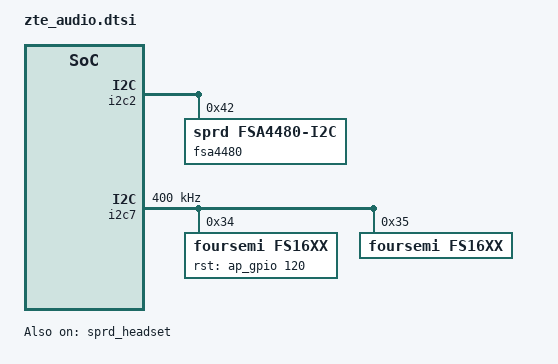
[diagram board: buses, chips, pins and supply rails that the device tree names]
&i2c2 {
	fsa4480: fsa4480@42 {
		status = "okay";
		compatible = "sprd,fsa4480-i2c";
		reg = <0x42>;
	};
};

&i2c7 {
	status = "okay";
	clock-frequency = <400000>;
	#address-cells = <1>;
	#size-cells = <0>;
	fs16xx@34 {
		compatible = "foursemi,fs16xx";
		reg = <0x34>;
		fsm,rst-gpio = <&ap_gpio 120 0>;
		status = "okay";
	};

	fs16xx@35 {
		compatible = "foursemi,fs16xx";
		reg = <0x35>;
		status = "okay";
	};
};

&sprd_headset {
	status = "okay";
	extcon = <&pmic_typec>;
	typec-i2c = <1>;
	sprd,3pole-adc-threshold = <112>;
	fsa4480-i2c-handle = <&fsa4480>;
};

&sound_vbc_v4_sprd_codec {

	status = "okay";
	extral-iic-pa = <2>;

	sprd-audio-card,routing =
		"HPMIC Pin", "HP Mic Jack",
		"MIC Pin", "Mic Jack",
		"MIC2 Pin", "Aux Mic Jack",
		"MIC3 Pin", "Aux Mic2 Jack",
		"HeadPhone Jack", "HP Pin",
		"Ext Spk", "SPK Pin",
		"Ext Ear", "EAR Pin";
};


